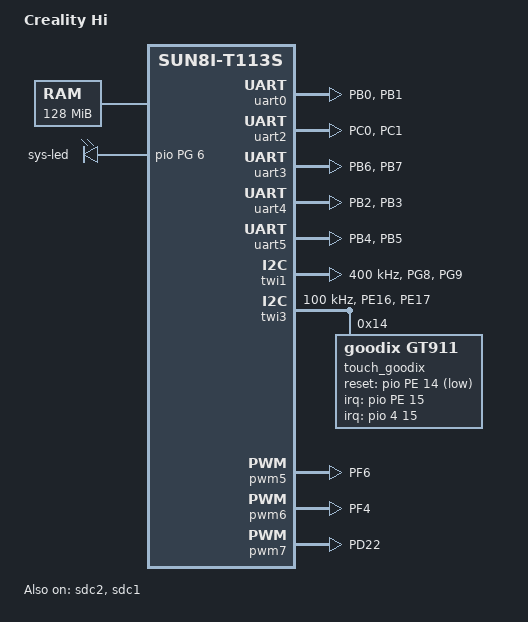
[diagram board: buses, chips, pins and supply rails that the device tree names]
// SPDX-License-Identifier: GPL-2.0
/*
 * Creality Hi 3D Printer (model F018)
 * SoC: Allwinner T113-S3 (sun8iw20p1) - dual Cortex-A7 + HiFi4 DSP
 *
 * Board peripherals:
 *   ttyS0 (UART0, PB0/PB1)  - debug console
 *   ttyS2 (UART2, PC0/PC1)  - main MCU (Klipper host)
 *   ttyS3 (UART3, PB6/PB7)  - nozzle MCU
 *   ttyS4 (UART4, PB2/PB3)  - bed MCU
 *   ttyS5 (UART5, PB4/PB5)  - CFS RS485 (multi-material filament system)
 *   mmc2  (sdc2,  PC2-PC7)  - eMMC, A/B partitioned (swupdate)
 *   mmc1  (sdc1,  PG0-PG5)  - WiFi SDIO
 *   twi1  (i2c,   PG8/PG9)  - generic I2C bus
 *   twi3  (i2c,   PE16/PE17) - touch panel controller
 *   pwm5  (PF6), pwm6 (PF4), pwm7 (PD22) - heater / fan control
 *
 * Derived from the live (vendor) device tree extracted from a running unit.
 */

/dts-v1/;
#include "sun8iw20p1.dtsi"

/ {
	model = "Creality Hi";
	compatible = "creality,hi", "allwinner,t113_i", "arm,sun8iw20p1";

	aliases {
		serial0 = &uart0;
		serial2 = &uart2;
		serial3 = &uart3;
		serial4 = &uart4;
		serial5 = &uart5;
		mmc1 = &sdc1;
		mmc2 = &sdc2;
	};

	chosen {
		stdout-path = "serial0:115200n8";
	};

	memory@40000000 {
		device_type = "memory";
		/* 128 MiB visible to Linux; remainder reserved for OPTEE/DSP */
		reg = <0x0 0x40000000 0x0 0x08000000>;
	};

	leds {
		compatible = "gpio-leds";
		status = "okay";

		sys_led {
			label = "sys-led";
			gpios = <&pio PG 6 GPIO_ACTIVE_HIGH>;
			linux,default-trigger = "timer";
		};
	};

	/*
	 * CAN controllers - placeholder structure matching the live tree.
	 * The vendor DT did not provide reg/interrupts/clocks; enabling these
	 * will require filling in proper MMIO/IRQ/CCU references against the
	 * T113 datasheet.
	 */
	can0: can@0 {
		compatible = "allwinner,sun8i-can";
		#address-cells = <1>;
		#size-cells = <0>;
		device_type = "can0";
		id = <0>;
		status = "disabled";
	};

	can1: can@1 {
		compatible = "allwinner,sun8i-can";
		#address-cells = <1>;
		#size-cells = <0>;
		device_type = "can1";
		id = <1>;
		status = "disabled";
	};
};

&pio {
	/* ---- UART pin groups ---- */
	uart0_pins_a: uart0@0 {
		pins = "PB0", "PB1";
		function = "uart0";
		drive-strength = <10>;
		bias-pull-up;
	};
	uart0_pins_b: uart0@1 {
		pins = "PB0", "PB1";
		function = "gpio_in";
	};

	uart2_pins_a: uart2@0 {
		pins = "PC0", "PC1";
		function = "uart2";
		drive-strength = <10>;
		bias-pull-up;
	};
	uart2_pins_b: uart2@1 {
		pins = "PC0", "PC1";
		function = "gpio_in";
	};

	uart3_pins_a: uart3@0 {
		pins = "PB6", "PB7";
		function = "uart3";
		drive-strength = <10>;
		bias-pull-up;
	};
	uart3_pins_b: uart3@1 {
		pins = "PB6", "PB7";
		function = "gpio_in";
	};

	uart4_pins_a: uart4@0 {
		pins = "PB2", "PB3";
		function = "uart4";
		drive-strength = <10>;
		bias-pull-up;
	};
	uart4_pins_b: uart4@1 {
		pins = "PB2", "PB3";
		function = "gpio_in";
	};

	uart5_pins_a: uart5@0 {
		pins = "PB4", "PB5";
		function = "uart5";
		drive-strength = <10>;
		bias-pull-up;
	};
	uart5_pins_b: uart5@1 {
		pins = "PB4", "PB5";
		function = "gpio_in";
	};

	/* ---- eMMC (sdc2) pin group ---- */
	sdc2_pins_a: sdc2@0 {
		pins = "PC2", "PC3", "PC4", "PC5", "PC6", "PC7";
		function = "sdc2";
		drive-strength = <30>;
		bias-pull-up;
	};
	sdc2_pins_b: sdc2@1 {
		pins = "PC2", "PC3", "PC4", "PC5", "PC6", "PC7";
		function = "gpio_in";
	};

	/* ---- WiFi SDIO (sdc1) pin group ---- */
	sdc1_pins_a: sdc1@0 {
		pins = "PG0", "PG1", "PG2", "PG3", "PG4", "PG5";
		function = "sdc1";
		drive-strength = <30>;
		bias-pull-up;
	};
	sdc1_pins_b: sdc1@1 {
		pins = "PG0", "PG1", "PG2", "PG3", "PG4", "PG5";
		function = "sdc1";
	};

	/*
	 * sdc0 pin groups - referenced by sdc0 in sun8iw20p1.dtsi but the
	 * SD card slot is physically disabled on the Hi board.  These exist
	 * only so the vendor dtsi resolves; sdc0 itself is overridden to
	 * status="disabled" below.
	 */
	sdc0_pins_a: sdc0@0 {
		pins = "PF0", "PF1", "PF2", "PF3", "PF4", "PF5";
		function = "sdc0";
		drive-strength = <30>;
		bias-pull-up;
	};
	sdc0_pins_b: sdc0@1 {
		pins = "PF0", "PF1", "PF2", "PF3", "PF4", "PF5";
		function = "sdc0";
		drive-strength = <30>;
		bias-pull-up;
	};
	sdc0_pins_c: sdc0@2 {
		pins = "PF0", "PF1", "PF2", "PF3", "PF4", "PF5";
		function = "gpio_in";
	};
	sdc0_pins_d: sdc0@3 {
		pins = "PF2", "PF4";
		function = "uart0";
		drive-strength = <10>;
		bias-pull-up;
	};
	sdc0_pins_e: sdc0@4 {
		pins = "PF0", "PF1", "PF3", "PF5";
		function = "jtag";
		drive-strength = <10>;
		bias-pull-up;
	};

	/* ---- I2C pin groups ---- */
	twi1_pins_a: twi1@0 {
		pins = "PG8", "PG9";
		function = "twi1";
		drive-strength = <10>;
	};
	twi1_pins_b: twi1@1 {
		pins = "PG8", "PG9";
		function = "gpio_in";
	};

	twi3_pins_a: twi3@0 {
		pins = "PE16", "PE17";
		function = "twi3";
		drive-strength = <10>;
	};
	twi3_pins_b: twi3@1 {
		pins = "PE16", "PE17";
		function = "gpio_in";
	};

	/* ---- PWM pin groups (live unit uses pwm5/6/7) ---- */
	pwm5_pins_a: pwm5@0 {
		pins = "PF6";
		function = "pwm5";
		drive-strength = <10>;
		bias-pull-up;
	};
	pwm5_pins_b: pwm5@1 {
		pins = "PF6";
		function = "gpio_in";
		bias-pull-down;
	};

	pwm6_pins_a: pwm6@0 {
		pins = "PF4";
		function = "pwm6";
		drive-strength = <10>;
		bias-pull-up;
	};
	pwm6_pins_b: pwm6@1 {
		pins = "PF4";
		function = "gpio_in";
		bias-pull-down;
	};

	pwm7_pins_a: pwm7@0 {
		pins = "PD22";
		function = "pwm7";
		drive-strength = <10>;
		bias-pull-up;
	};
	pwm7_pins_b: pwm7@1 {
		pins = "PD22";
		function = "gpio_in";
	};
};

/* ============================================================== */
/* UARTs                                                          */
/* ============================================================== */

&uart0 {
	pinctrl-names = "default", "sleep";
	pinctrl-0 = <&uart0_pins_a>;
	pinctrl-1 = <&uart0_pins_b>;
	status = "okay";
};

/* UART1 not wired on this board (PG6..9 area is unused). */
&uart1 {
	status = "disabled";
};

&uart2 {
	pinctrl-names = "default", "sleep";
	pinctrl-0 = <&uart2_pins_a>;
	pinctrl-1 = <&uart2_pins_b>;
	status = "okay";
};

&uart3 {
	pinctrl-names = "default", "sleep";
	pinctrl-0 = <&uart3_pins_a>;
	pinctrl-1 = <&uart3_pins_b>;
	status = "okay";
};

&uart4 {
	pinctrl-names = "default", "sleep";
	pinctrl-0 = <&uart4_pins_a>;
	pinctrl-1 = <&uart4_pins_b>;
	status = "okay";
};

&uart5 {
	pinctrl-names = "default", "sleep";
	pinctrl-0 = <&uart5_pins_a>;
	pinctrl-1 = <&uart5_pins_b>;
	status = "okay";
};

/* ============================================================== */
/* eMMC (boot/data device, A/B partitioned)                       */
/* ============================================================== */

&sdc2 {
	pinctrl-names = "default", "sleep";
	pinctrl-0 = <&sdc2_pins_a>;
	pinctrl-1 = <&sdc2_pins_b>;
	bus-width = <4>;
	non-removable;
	mmc-cache-ctrl;
	cap-mmc-highspeed;
	cap-cmd23;
	cap-erase;
	mmc-high-capacity-erase-size;
	no-sd;
	no-sdio;
	mmc-ddr-1_8v;
	mmc-hs200-1_8v;
	ctl-spec-caps = <0x308>;
	mmc-bootpart-noacc;
	max-frequency = <150000000>;
	req-page-count = <2>;

	/* Delay/timing tuning values copied verbatim from the live tree */
	sdc_tm4_sm0_freq0 = <0xffffffff>;
	sdc_tm4_sm0_freq1 = <0xffffffff>;
	sdc_tm4_sm1_freq0 = <0xff1dffff>;
	sdc_tm4_sm1_freq1 = <0xffffffff>;
	sdc_tm4_sm2_freq0 = <0xff1717ff>;
	sdc_tm4_sm2_freq1 = <0xffffffff>;
	sdc_tm4_sm3_freq0 = <0x0e18ffff>;
	sdc_tm4_sm3_freq1 = <0xffffff0b>;
	sdc_tm4_sm4_freq0 = <0xffffffff>;
	sdc_tm4_sm4_freq1 = <0xffffffff>;
	sdc_tm4_sm4_freq0_cmd = <0xffffffff>;
	sdc_tm4_sm4_freq1_cmd = <0xffffffff>;

	sunxi-power-save-mode;
	sunxi-dis-signal-vol-sw;

	status = "okay";
};

/* SD card slot is not populated on this board */
&sdc0 {
	status = "disabled";
};

/* ============================================================== */
/* WiFi SDIO (sdc1) - PG0..PG5                                    */
/* ============================================================== */

&sdc1 {
	pinctrl-names = "default", "sleep";
	pinctrl-0 = <&sdc1_pins_a>;
	pinctrl-1 = <&sdc1_pins_b>;
	bus-width = <4>;
	cap-sd-highspeed;
	cap-sdio-irq;
	keep-power-in-suspend;
	no-mmc;
	no-sd;
	non-removable;
	sd-uhs-sdr12;
	sd-uhs-sdr25;
	sd-uhs-sdr50;
	sd-uhs-ddr50;
	sd-uhs-sdr104;
	ignore-pm-notify;
	ctl-spec-caps = <0x08>;
	sunxi-dly-52M-ddr4 = <1 0 0 0 2>;
	sunxi-dly-104M = <1 0 0 0 1>;
	sunxi-dly-208M = <1 0 0 0 1>;
	status = "okay";
};

/* ============================================================== */
/* I2C                                                            */
/* ============================================================== */

&twi1 {
	pinctrl-names = "default", "sleep";
	pinctrl-0 = <&twi1_pins_a>;
	pinctrl-1 = <&twi1_pins_b>;
	clock-frequency = <400000>;
	status = "okay";
};

&twi3 {
	pinctrl-names = "default", "sleep";
	pinctrl-0 = <&twi3_pins_a>;
	pinctrl-1 = <&twi3_pins_b>;
	clock-frequency = <100000>;
	status = "okay";

	/* Touch panel - the live tree carries two alternate chip nodes;
	 * one of them is actually fitted depending on board variant.
	 */
	touch_goodix: ctp@14 {
		compatible = "goodix,gt911";
		reg = <0x14>;
		interrupt-parent = <&pio>;
		interrupts = <4 15 IRQ_TYPE_EDGE_FALLING>; /* PE15 */
		reset-gpios = <&pio PE 14 GPIO_ACTIVE_LOW>;
		irq-gpios = <&pio PE 15 GPIO_ACTIVE_HIGH>;
		touchscreen-size-x = <480>;
		touchscreen-size-y = <800>;
		status = "okay";
	};

	touch_tlsc6x: ctp@2e {
		compatible = "tlsc6x,tlsc6x_ts";
		reg = <0x2e>;
		irq-gpios = <&pio PE 15 GPIO_ACTIVE_HIGH>;
		reset-gpios = <&pio PE 14 GPIO_ACTIVE_LOW>;
		status = "disabled";
	};
};

/* ============================================================== */
/* PWMs - heater and fan control                                  */
/* ============================================================== */

&pwm5 {
	pinctrl-names = "active", "sleep";
	pinctrl-0 = <&pwm5_pins_a>;
	pinctrl-1 = <&pwm5_pins_b>;
	status = "okay";
};

&pwm6 {
	pinctrl-names = "active", "sleep";
	pinctrl-0 = <&pwm6_pins_a>;
	pinctrl-1 = <&pwm6_pins_b>;
	status = "okay";
};

&pwm7 {
	pinctrl-names = "active", "sleep";
	pinctrl-0 = <&pwm7_pins_a>;
	pinctrl-1 = <&pwm7_pins_b>;
	status = "okay";
};
